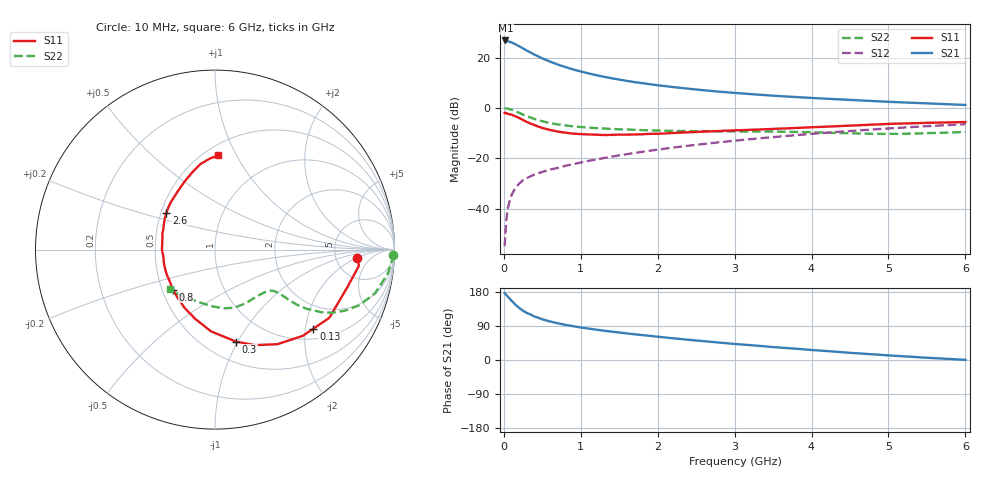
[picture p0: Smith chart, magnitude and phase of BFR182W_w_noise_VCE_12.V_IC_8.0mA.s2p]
! Infineon Technologies  Discrete & RF Semiconductors
! BFR182W
! VCE =  12. V,  IC =  8.0 mA
! Common Emitter S-Parameters:  Jan 2017
# GHz  S  MA  R  50
!  f  S11  S21  S12  S22
! GHz  MAG  ANG  MAG  ANG  MAG  ANG  MAG  ANG
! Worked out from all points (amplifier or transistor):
!   77 points, 10 MHz to 6 GHz, reference 50 ohm
!   highest |S21| = 26.8 dB at 20 MHz (marker M1)
!   |S21| within 3 dB of that: start of sweep to 240.5 MHz
!   unconditionally stable (mu >= 1): 1.194 GHz to 2.723 GHz
!   at 130 MHz: K = 0.25, MSG = 29.2 dB, |S12| = -32.8 dB
!   at 2.2 GHz: K = 1.03, MAG = 10.9 dB, |S12| = -15.7 dB
!   at 6 GHz: K = 0.85, MSG = 3.8 dB, |S12| = -6.5 dB
!   lowest NFmin = 1.00 dB at 450 MHz
!   S11 on the Smith chart (normalised r, x): 10 MHz: 8.24, -1.98; 130 MHz: 1.27, -2.21; 300 MHz: 0.69, -0.99; 800 MHz: 0.57, -0.28; 2.6 GHz: 0.53, +0.25; 6 GHz: 0.58, +0.85
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0.01  0.7944 -3.2  21.83 176.6  0.0018 80.6  0.992 -1.6
0.02  0.807 -6.4  21.93 174.5  0.0032 88.0  0.989 -3.3
0.05  0.7671 -15.7  21.25 167.5  0.0098 81.3  0.9715 -8.0
0.1  0.7419 -30.8  20.03 156.3  0.0185 76.2  0.9257 -15.1
0.13  0.7032 -38.8  19.02 150.3  0.0228 70.9  0.8871 -18.5
0.15  0.6856 -44.5  18.47 146.0  0.0258 68.3  0.8632 -21.0
0.2  0.6313 -56.6  16.8 137.4  0.0315 65.2  0.7993 -25.2
0.25  0.5766 -67.4  15.24 129.9  0.037 62.0  0.7397 -28.4
0.3  0.5265 -77.0  13.77 124.0  0.0405 60.0  0.6848 -30.6
0.4  0.4565 -92.7  11.46 114.5  0.0479 58.4  0.6027 -33.0
0.5  0.4013 -106.0  9.661 107.4  0.0536 58.0  0.5435 -34.0
0.6  0.3664 -117.5  8.342 101.7  0.0598 58.5  0.5017 -34.2
0.7  0.3398 -127.6  7.296 97.0  0.0645 59.6  0.4721 -34.2
0.8  0.3238 -136.5  6.5 92.8  0.071 60.1  0.4496 -34.3
1.1  0.298 -158.9  4.868 83.0  0.089 62.3  0.4082 -34.9
1.5  0.2956 179.7  3.66 72.5  0.1146 63.8  0.3775 -37.7
2.1  0.3124 156.8  2.714 59.4  0.1561 63.7  0.3535 -45.9
2.6  0.3393 143.1  2.248 49.6  0.1928 62.1  0.3448 -55.1
3.1  0.3636 131.4  1.942 40.8  0.2316 59.7  0.3419 -64.4
4.1  0.42 112.8  1.554 25.0  0.3145 52.8  0.3266 -83.9
5.1  0.4873 98.5  1.307 10.9  0.4005 44.0  0.3061 -112.2
6  0.5263 87.9  1.149 0.4  0.4758 35.0  0.3348 -138.7
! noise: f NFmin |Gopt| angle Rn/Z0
0.45  1  0.12  39  0.15
0.9  1.08  0.12  69  0.15
1.9  1.59  0.18  -174  0.13
2.4  1.85  0.18  -169  0.19
